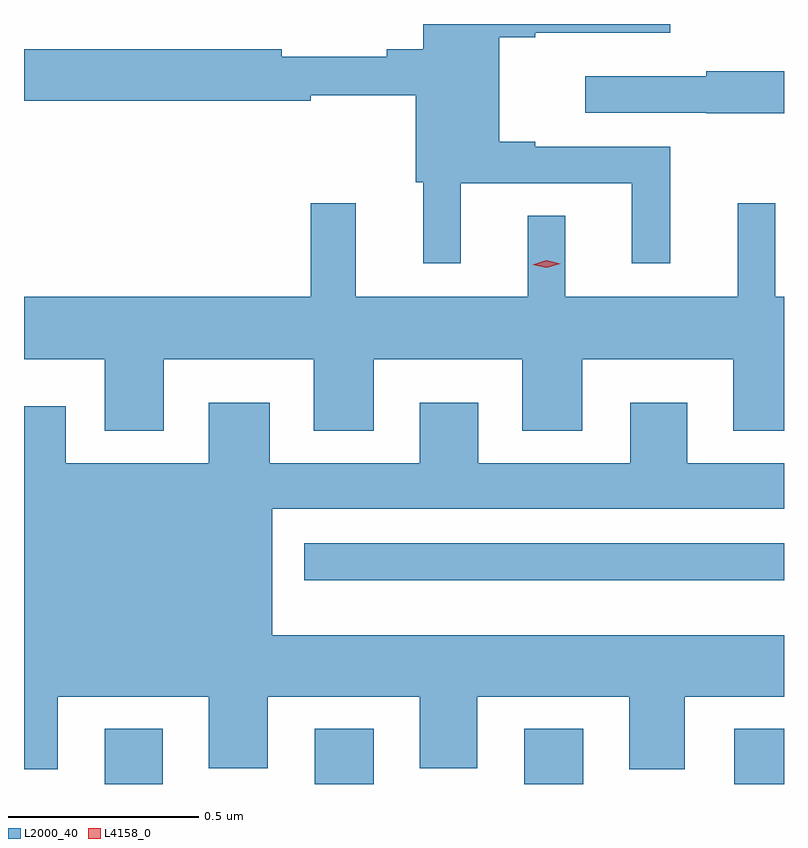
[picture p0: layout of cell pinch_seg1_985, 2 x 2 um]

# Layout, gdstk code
import gdstk
lib = gdstk.Library(unit=1e-6, precision=1e-09)
def R(c, l, rs):  # rectangles x0, y0, x1, y1
    for r in rs: c.add(gdstk.rectangle(r[:2], r[2:], *l))
def P(c, l, *ps):  # polygons
    for p in ps: c.add(gdstk.Polygon(p, *l))
L2000_40 = (2000, 40)
L4158_0 = (4158, 0)

pinch_seg1_985 = lib.new_cell('pinch_seg1_985')
R(pinch_seg1_985, L2000_40, [(206.201,509.322,206.353,509.467), (206.753,509.322,206.908,509.467), (207.305,509.322,207.46,509.467), (207.857,509.322,207.988,509.467), (206.726,509.858,207.988,509.955)])
P(pinch_seg1_985, L2000_40, [(207.137,510.903),(207.587,510.903),(207.587,510.693),(207.688,510.693),(207.688,510.999),(207.334,510.999),(207.334,511.012),(207.238,511.012),(207.238,511.287),(207.334,511.287),(207.334,511.299),(207.689,511.299),(207.689,511.322),(207.038,511.322),(207.038,511.256),(206.942,511.256),(206.942,511.236),(206.666,511.236),(206.666,511.256),(205.988,511.256),(205.988,511.12),(206.742,511.12),(206.742,511.135),(207.019,511.135),(207.019,510.906),(207.038,510.906),(207.038,510.693),(207.137,510.693)],
  [(207.988,511.198),(207.784,511.198),(207.784,511.185),(207.465,511.185),(207.465,511.089),(207.784,511.089),(207.784,511.087),(207.988,511.087)],
  [(206.356,510.44),(206.75,510.44),(206.75,510.251),(206.908,510.251),(206.908,510.44),(207.299,510.44),(207.299,510.251),(207.457,510.251),(207.457,510.44),(207.854,510.44),(207.854,510.251),(207.988,510.251),(207.988,510.604),(207.965,510.604),(207.965,510.85),(207.866,510.85),(207.866,510.604),(207.412,510.604),(207.412,510.818),(207.314,510.818),(207.314,510.604),(206.861,510.604),(206.861,510.85),(206.743,510.85),(206.743,510.604),(205.988,510.604),(205.988,510.44),(206.201,510.44),(206.201,510.251),(206.356,510.251)],
  [(206.077,509.552),(206.474,509.552),(206.474,509.364),(206.629,509.364),(206.629,509.552),(207.029,509.552),(207.029,509.364),(207.181,509.364),(207.181,509.552),(207.581,509.552),(207.581,509.361),(207.727,509.361),(207.727,509.552),(207.988,509.552),(207.988,509.713),(206.641,509.713),(206.641,510.047),(207.988,510.047),(207.988,510.166),(207.733,510.166),(207.733,510.325),(207.584,510.325),(207.584,510.166),(207.184,510.166),(207.184,510.325),(207.029,510.325),(207.029,510.166),(206.635,510.166),(206.635,510.325),(206.474,510.325),(206.474,510.166),(206.098,510.166),(206.098,510.316),(205.988,510.316),(205.988,509.361),(206.077,509.361)])
P(pinch_seg1_985, L4158_0, [(207.363,510.68),(207.327,510.689),(207.327,510.689),(207.327,510.689),(207.362,510.7),(207.399,510.691),(207.399,510.691),(207.399,510.691)])

lib.write_gds('pinch_seg1_985.gds')
